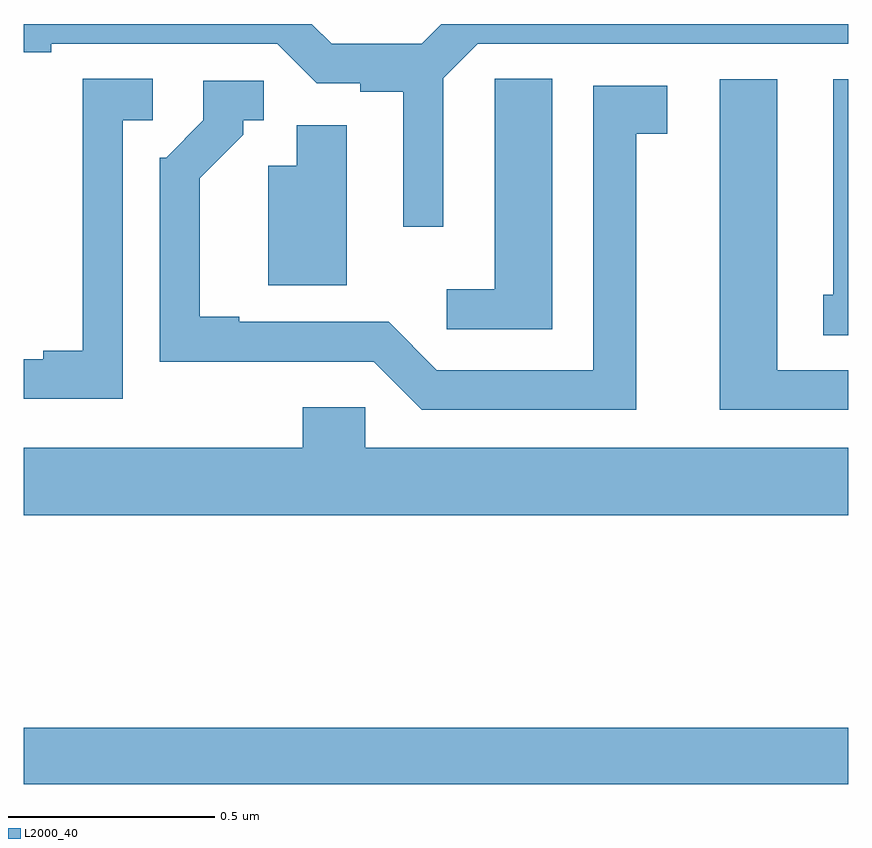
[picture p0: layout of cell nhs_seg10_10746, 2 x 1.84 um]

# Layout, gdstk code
import gdstk
lib = gdstk.Library(unit=1e-6, precision=1e-09)
def R(c, l, rs):  # rectangles x0, y0, x1, y1
    for r in rs: c.add(gdstk.rectangle(r[:2], r[2:], *l))
def P(c, l, *ps):  # polygons
    for p in ps: c.add(gdstk.Polygon(p, *l))
L2000_40 = (2000, 40)

nhs_seg10_10746 = lib.new_cell('nhs_seg10_10746')
R(nhs_seg10_10746, L2000_40, [(246,1307.656,248,1307.792)])
P(nhs_seg10_10746, L2000_40, [(247.017,1309.368),(247.101,1309.452),(248,1309.452),(248,1309.5),(247.013,1309.5),(246.965,1309.452),(246.747,1309.452),(246.699,1309.5),(246,1309.5),(246,1309.432),(246.067,1309.432),(246.067,1309.452),(246.615,1309.452),(246.711,1309.356),(246.816,1309.356),(246.816,1309.336),(246.92,1309.336),(246.92,1309.008),(247.017,1309.008)],
  [(247.282,1309.367),(247.143,1309.367),(247.143,1309.259),(247.142,1309.259),(247.142,1308.856),(247.026,1308.856),(247.026,1308.759),(247.282,1308.759)],
  [(246.24,1309.266),(246.313,1309.266),(246.313,1309.367),(246.143,1309.367),(246.143,1308.707),(246.047,1308.707),(246.047,1308.687),(246,1308.687),(246,1308.591),(246.24,1308.591)],
  [(248,1308.66),(247.828,1308.66),(247.828,1309.366),(247.688,1309.366),(247.688,1308.564),(248,1308.564)],
  [(248,1309.366),(247.964,1309.366),(247.964,1308.843),(247.94,1308.843),(247.94,1308.745),(248,1308.745)],
  [(247.486,1309.234),(247.561,1309.234),(247.561,1309.35),(247.382,1309.35),(247.382,1308.66),(247.002,1308.66),(246.885,1308.777),(246.523,1308.777),(246.523,1308.79),(246.427,1308.79),(246.427,1309.126),(246.532,1309.231),(246.532,1309.266),(246.582,1309.266),(246.582,1309.362),(246.435,1309.362),(246.435,1309.266),(246.345,1309.176),(246.33,1309.176),(246.33,1308.68),(246.593,1308.68),(246.593,1308.681),(246.849,1308.681),(246.966,1308.564),(247.486,1308.564)],
  [(246.784,1309.254),(246.662,1309.254),(246.662,1309.156),(246.593,1309.156),(246.593,1308.866),(246.784,1308.866)],
  [(248,1308.472),(246.828,1308.472),(246.828,1308.57),(246.677,1308.57),(246.677,1308.472),(246,1308.472),(246,1308.308),(248,1308.308)])

lib.write_gds('nhs_seg10_10746.gds')
